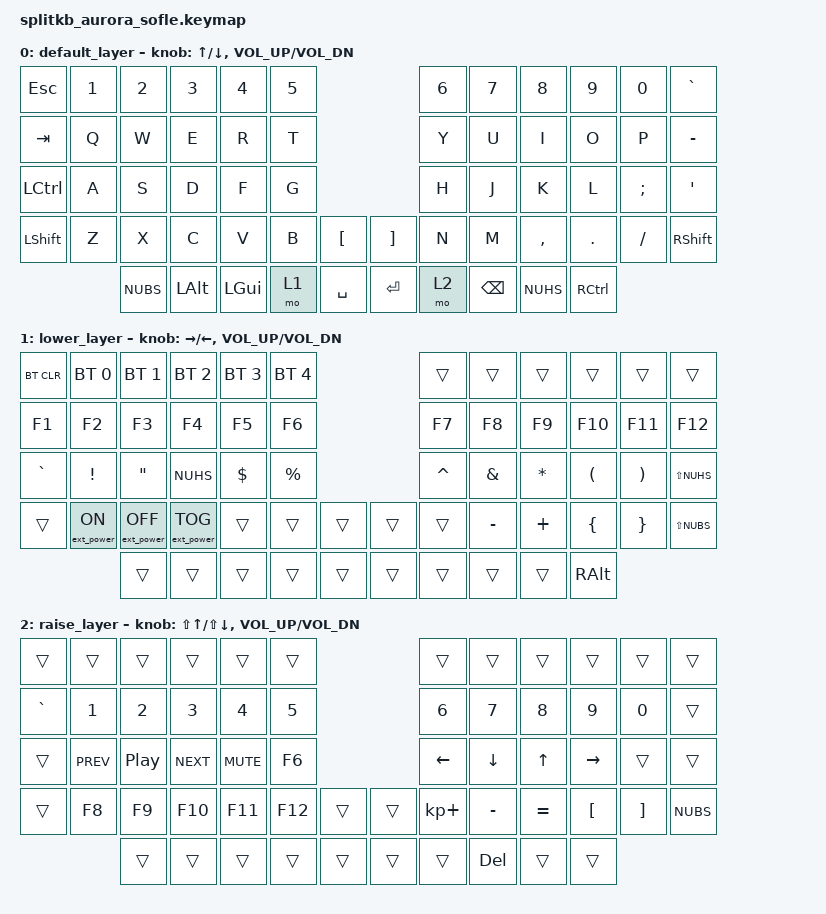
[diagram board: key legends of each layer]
/*
 * Copyright (c) 2023 The ZMK Contributors
 *
 * SPDX-License-Identifier: MIT
 */

#include <behaviors.dtsi>
#include <dt-bindings/zmk/keys.h>
#include <dt-bindings/zmk/bt.h>
#include <dt-bindings/zmk/ext_power.h>

/* Uncomment this block if using RGB
&led_strip {
    chain-length = <6>;
    // chain-length = <35>; // Uncomment if using both per-key and underglow LEDs
    // chain-length = <29>; // Uncomment if using only per-key LEDs.
};
 */

/ {
    keymap {
        compatible = "zmk,keymap";

        default_layer {
// ------------------------------------------------------------------------------------------------------------
// |  ESC  |  1  |  2  |  3   |  4   |  5   |                   |  6   |  7    |  8    |  9   |   0   |   `   |
// |  TAB  |  Q  |  W  |  E   |  R   |  T   |                   |  Y   |  U    |  I    |  O   |   P   |   -   |
// |  CTRL |  A  |  S  |  D   |  F   |  G   |                   |  H   |  J    |  K    |  L   |   ;   |   '   |
// | SHIFT |  Z  |  X  |  C   |  V   |  B   |   "["  |  |  "]"  |  N   |  M    |  ,    |  .   |   /   | SHIFT |
//               | \|  | ALT  | GUI  | LOWER|  SPACE |  | ENTER | RAISE| BSPC  |  #~   | CTRL |  (UK ISO: NUBS / NUHS)
            bindings = <
&kp ESC   &kp N1 &kp N2    &kp N3   &kp N4   &kp N5                     &kp N6 &kp N7   &kp N8    &kp N9   &kp N0   &kp GRAVE
&kp TAB   &kp Q  &kp W     &kp E    &kp R    &kp T                      &kp Y  &kp U    &kp I     &kp O    &kp P    &kp MINUS
&kp LCTRL &kp A  &kp S     &kp D    &kp F    &kp G                      &kp H  &kp J    &kp K     &kp L    &kp SEMI &kp SQT
&kp LSHFT &kp Z  &kp X     &kp C    &kp V    &kp B  &kp LBKT   &kp RBKT &kp N  &kp M    &kp COMMA &kp DOT  &kp FSLH &kp RSHFT
                 &kp NUBS  &kp LALT &kp LGUI &mo 1  &kp SPACE  &kp RET  &mo 2  &kp BSPC &kp NUHS  &kp RCTRL
            >;

            // Left encoder: Up/Down (change the focused slider/value). Right encoder: volume.
            sensor-bindings = <&inc_dec_kp UP DOWN &inc_dec_kp C_VOL_UP C_VOL_DN>;
        };

        lower_layer {
// ------------------------------------------------------------------------------------------------------------
// | BTCLR | BT1 | BT2 |  BT3 |  BT4 |  BT5 |                   |      |       |       |      |       |       |
// |  F1   |  F2 |  F3 |  F4  |  F5  |  F6  |                   |  F7  |  F8   |  F9   |  F10 |  F11  |  F12  |
// |   `   |  !  |  @  |  #   |  $   |  %   |                   |  ^   |  &    |  *    |  (   |   )   |   ~   |
// |       |     |     |      |      |      |        |  |       |      |  _    |  +    |  {   |   }   |  "|"  |
//               |     |      |      |      |        |  |       |      |       |       |      |
// Thumb row: right outer key = AltGr (RALT)
            bindings = <
&bt BT_CLR &bt BT_SEL 0     &bt BT_SEL 1      &bt BT_SEL 2      &bt BT_SEL 3 &bt BT_SEL 4                 &trans    &trans    &trans    &trans    &trans    &trans
&kp F1     &kp F2           &kp F3            &kp F4            &kp F5       &kp F6                       &kp F7    &kp F8    &kp F9    &kp F10   &kp F11   &kp F12
&kp GRAVE  &kp EXCL         &kp DQT           &kp NUHS          &kp DOLLAR   &kp PRCNT                    &kp CARET &kp AMPS  &kp STAR  &kp LPAR  &kp RPAR  &kp LS(NUHS)
&trans     &ext_power EP_ON &ext_power EP_OFF &ext_power EP_TOG &trans       &trans    &trans   &trans    &trans    &kp MINUS &kp PLUS  &kp LBRC  &kp RBRC  &kp LS(NUBS)
                            &trans            &trans            &trans       &trans    &trans   &trans    &trans    &trans    &trans    &kp RALT
            >;

            // Left encoder: Right/Left (next/previous item). Right encoder: volume.
            sensor-bindings = <&inc_dec_kp RIGHT LEFT &inc_dec_kp C_VOL_UP C_VOL_DN>;
        };

        raise_layer {
// ------------------------------------------------------------------------------------------------------------
// |       |     |     |      |      |      |                   |      |       |       |      |       |       |
// |   `   |  1  |  2  |  3   |  4   |  5   |                   |  6   |   7   |   8   |  9   |   0   |       |
// |       |PREV |PLAY |NEXT  |MUTE  |  F6  |                   |  <-  |   v   |  ^   |  ->   |       |       |
// |   F7  |  F8 |  F9 |  F10 |  F11 |  F12 |        |  |       |  +   |   -   |   =   |  [   |   ]   |   \   |
//               |     |      |      |      |        |  |       |      |       |       |      |
// Thumb row: Raise + BSPC position = DEL
// Left Ctrl and left Shift positions pass through (F1/F7 are on Lower), so Raise + Ctrl/Shift + arrows works
// Media keys on the left home row: A = previous, S = play/pause, D = next, F = mute (F2-F5 stay on Lower)
            bindings = <
&trans    &trans &trans &trans  &trans  &trans                       &trans      &trans    &trans    &trans   &trans    &trans
&kp GRAVE &kp N1 &kp N2 &kp N3  &kp N4  &kp N5                       &kp N6      &kp N7    &kp N8    &kp N9   &kp N0    &trans
&trans    &kp C_PREV &kp C_PP &kp C_NEXT &kp C_MUTE &kp F6                       &kp LEFT    &kp DOWN  &kp UP    &kp RIGHT &trans    &trans
&trans    &kp F8 &kp F9 &kp F10 &kp F11 &kp F12   &trans   &trans    &kp KP_PLUS &kp MINUS &kp EQUAL &kp LBKT &kp RBKT  &kp NUBS
                 &trans &trans  &trans  &trans    &trans   &trans    &trans      &kp DEL    &trans    &trans
            >;

            // Left encoder: Shift+Up/Down (coarser steps). Right encoder: volume.
            sensor-bindings = <&inc_dec_kp LS(UP) LS(DOWN) &inc_dec_kp C_VOL_UP C_VOL_DN>;
        };
    };
};
